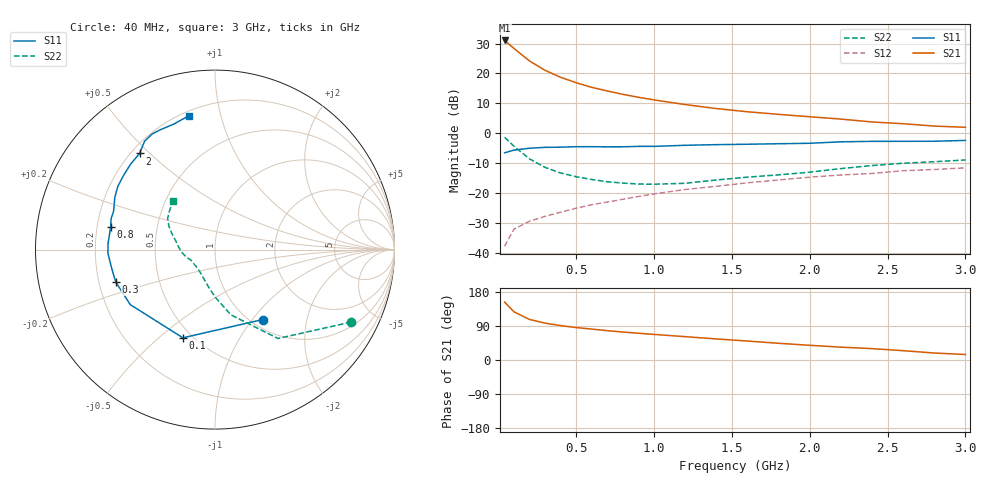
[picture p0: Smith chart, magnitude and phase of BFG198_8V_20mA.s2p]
! Filename:  BFG198G.S2P  Version:  2.0
! Philips part #: BFG198  Date: Jul 1990
! Bias condition: Vce=8V, Ic=20mA
#  MHz  S  MA  R  50
! Freq  S11  S21  S12  S22  !GUM [dB]
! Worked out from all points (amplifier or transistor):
!   21 points, 40 MHz to 3 GHz, reference 50 ohm
!   highest |S21| = 31.0 dB at 40 MHz (marker M1)
!   |S21| within 3 dB of that: start of sweep to 108.4 MHz
!   unconditionally stable (mu >= 1): 596.3 MHz to 2.941 GHz
!   at 300 MHz: K = 0.78, MSG = 24.4 dB, |S12| = -27.7 dB
!   at 1 GHz: K = 1.10, MAG = 13.8 dB, |S12| = -20.3 dB
!   at 3 GHz: K = 0.99, MSG = 6.8 dB, |S12| = -11.5 dB
!   S11 on the Smith chart (normalised r, x): 40 MHz: 1.13, -1.13; 100 MHz: 0.45, -0.60; 300 MHz: 0.27, -0.15; 800 MHz: 0.26, +0.10; 2 GHz: 0.23, +0.47; 3 GHz: 0.23, +0.80
40  0.472 -55.6  35.56 152.8  0.013 72.3  0.86 -28.0
100  0.523 -110.0  26.22 127.2  0.025 55.8  0.607 -54.7
200  0.563 -147.0  16.15 107.0  0.034 51.0  0.374 -76.3
300  0.582 -162.0  11.27 97.2  0.041 53.1  0.269 -89.0
400  0.586 -171.0  8.613 90.8  0.048 56.4  0.217 -98.6
500  0.597 -178.0  7.001 85.6  0.056 58.6  0.188 -106.0
600  0.597 177.0  5.849 81.5  0.064 60.9  0.169 -113.0
700  0.594 172.5  5.092 77.4  0.071 62.7  0.155 -120.0
800  0.595 167.9  4.471 73.8  0.079 63.2  0.147 -127.0
900  0.604 163.2  3.991 70.6  0.088 63.7  0.142 -135.0
1000  0.604 159.3  3.609 67.5  0.097 64.7  0.141 -142.0
1200  0.63 152.3  3.021 61.6  0.115 63.9  0.146 -156.0
1400  0.646 146.9  2.589 55.6  0.13 63.7  0.166 -166.0
1600  0.656 141.0  2.288 50.0  0.149 64.0  0.185 -175.0
1800  0.669 134.7  2.072 44.1  0.166 60.4  0.202 176.6
2000  0.681 128.1  1.888 38.8  0.185 59.2  0.224 167.4
2200  0.72 123.0  1.727 33.9  0.201 57.3  0.257 159.5
2400  0.733 118.6  1.546 30.0  0.213 56.8  0.289 152.9
2600  0.734 114.7  1.445 24.6  0.237 53.1  0.316 146.6
2800  0.736 108.1  1.319 18.4  0.248 48.8  0.335 138.8
3000  0.76 101.1  1.259 14.5  0.265 47.6  0.358 130.6
